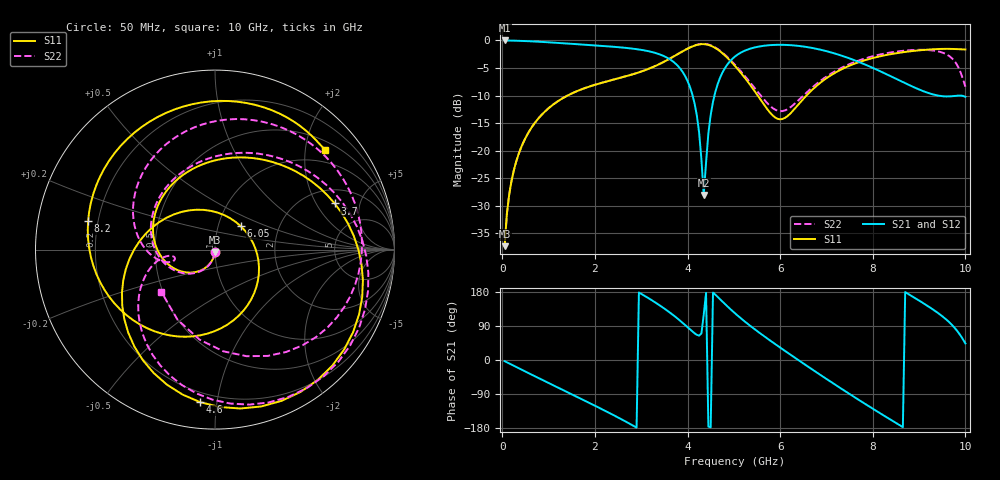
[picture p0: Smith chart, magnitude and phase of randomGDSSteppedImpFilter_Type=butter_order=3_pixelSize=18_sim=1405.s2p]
! freq	dB(S11)	phase(S11)	dB(S12)	phase(S12)
!  dB(S21)	phase(S21)	dB(S22)	phase(S22)
!S-par simulation data
#  GHz  S  DB  R 50
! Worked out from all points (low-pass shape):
!   200 points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, 50 MHz to 10 GHz, reference 50 ohm
!   highest |S21| = -0.01 dB at 50 MHz (marker M1); lowest = -28.0 dB at 4.35 GHz (marker M2)
!   |S21| within 3 dB of the highest: start of sweep to 3.531 GHz; 5.013 GHz to 7.413 GHz (2.4 GHz wide, 38.6 % of centre)
!   lowest |S11| = -37.3 dB at 50 MHz (marker M3), VSWR 1.03, Z = 49.9 - j1.36 ohm
!   |S11| at or under -10 dB: start of sweep to 1.409 GHz; 5.516 GHz to 6.567 GHz (1.051 GHz wide, 17.4 % of centre)
!   |S22| runs from -37.3 to -0.6 dB; largest |S21 - S12| = 0
!   S11 on the Smith chart (normalised r, x): 50 MHz: 1.00, -0.03; 3.7 GHz: 2.76, +2.90; 4.6 GHz: 0.14, -0.90; 6.05 GHz: 1.28, +0.35; 8.2 GHz: 0.16, +0.11; 10 GHz: 0.68, +2.41
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0.05  -37.30 -92.6  -0.01 -3.1  -0.01 -3.1  -37.30 -92.4
0.2  -25.42 -102.8  -0.03 -12.3  -0.03 -12.3  -25.42 -102.2
0.5  -17.71 -121.8  -0.12 -30.6  -0.12 -30.6  -17.70 -120.3
1.15  -11.32 -162.1  -0.42 -69.7  -0.42 -69.7  -11.30 -158.6
1.75  -8.75 161.1  -0.76 -105.5  -0.76 -105.5  -8.73 166.5
2.65  -6.56 103.5  -1.34 -161.5  -1.34 -161.5  -6.54 111.9
3.4  -4.26 48.2  -2.53 144.1  -2.53 144.1  -4.25 57.6
3.7  -2.92 21.1  -3.91 117.6  -3.91 117.6  -2.90 30.4
4.15  -0.95 -30.8  -11.35 70.7  -11.35 70.7  -0.92 -21.6
4.35  -0.68 -59.0  -28.01 119.7  -28.01 119.7  -0.63 -49.3
4.45  -0.81 -73.6  -16.85 -175.6  -16.85 -175.6  -0.75 -63.6
4.6  -1.37 -95.5  -9.35 172.5  -9.35 172.5  -1.29 -84.3
5.05  -4.87 -155.2  -2.76 120.6  -2.76 120.6  -4.65 -135.8
5.5  -9.81 146.8  -1.18 76.6  -1.18 76.6  -9.16 -166.9
6.05  -14.25 42.1  -0.80 28.5  -0.80 28.5  -12.81 -167.0
6.7  -8.89 -59.7  -1.38 -25.6  -1.38 -25.6  -8.48 -178.5
7.35  -5.14 -122.1  -2.83 -78.0  -2.83 -78.0  -4.86 137.7
8.2  -2.80 167.4  -5.74 -143.7  -5.74 -143.7  -2.47 73.6
8.35  -2.55 155.5  -6.34 -154.9  -6.34 -154.9  -2.23 62.4
9.35  -1.58 81.4  -9.89 129.1  -9.89 129.1  -1.89 -14.3
9.75  -1.55 55.5  -10.08 87.4  -10.08 87.4  -3.59 -63.6
10  -1.64 42.4  -10.22 43.6  -10.22 43.6  -8.39 -142.0
